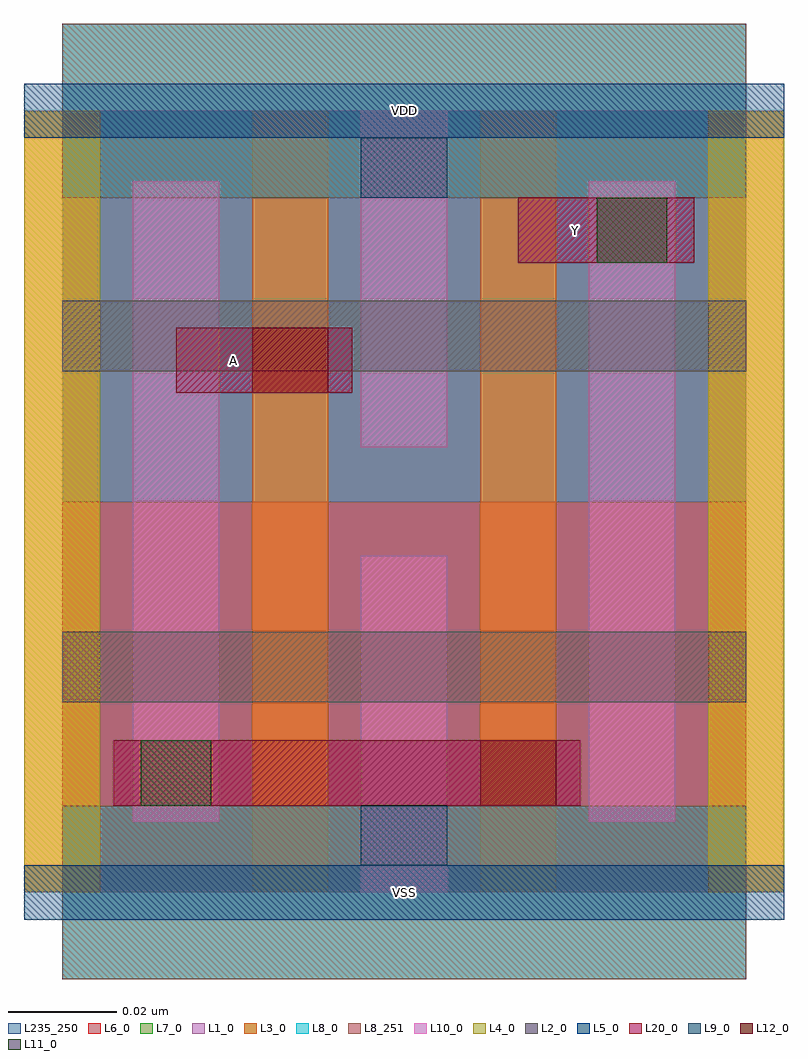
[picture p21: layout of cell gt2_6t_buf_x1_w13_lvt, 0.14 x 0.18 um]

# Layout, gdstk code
import gdstk
lib = gdstk.Library(unit=1e-6, precision=5e-10)
def R(c, l, rs):  # rectangles x0, y0, x1, y1
    for r in rs: c.add(gdstk.rectangle(r[:2], r[2:], *l))
def A(c, l, x, y, w, h, nx, ny, dx, dy):  # array of equal rectangles
    R(c, l, [(x+i*dx, y+j*dy, x+i*dx+w, y+j*dy+h) for i in range(nx) for j in range(ny)])
L1_0 = (1, 0)
L2_0 = (2, 0)
L3_0 = (3, 0)
L4_0 = (4, 0)
L5_0 = (5, 0)
L6_0 = (6, 0)
L7_0 = (7, 0)
L8_0 = (8, 0)
L8_251 = (8, 251)
L9_0 = (9, 0)
L10_0 = (10, 0)
L11_0 = (11, 0)
L12_0 = (12, 0)
L20_0 = (20, 0)
L235_250 = (235, 250)

gt2_6t_buf_x1_w13_lvt = lib.new_cell('gt2_6t_buf_x1_w13_lvt')
R(gt2_6t_buf_x1_w13_lvt, L1_0, [(0,0.072,0.126,0.144)])
R(gt2_6t_buf_x1_w13_lvt, L2_0, [(0,0.035,0.126,0.048), (0,0.096,0.126,0.109)])
A(gt2_6t_buf_x1_w13_lvt, L3_0, -0.007, 0, 0.014, 0.144, 4, 1, 0.042, 0)
R(gt2_6t_buf_x1_w13_lvt, L4_0, [(-0.007,0,0.007,0.144), (0.119,0,0.133,0.144)])
R(gt2_6t_buf_x1_w13_lvt, L5_0, [(-0.007,-0.005,0.133,0.005), (-0.007,0.139,0.133,0.149)])
R(gt2_6t_buf_x1_w13_lvt, L6_0, [(0,0,0.126,0.072)])
R(gt2_6t_buf_x1_w13_lvt, L7_0, [(0,0.072,0.126,0.144)])
R(gt2_6t_buf_x1_w13_lvt, L8_0, [(0,-0.016,0.126,0.016), (0,0.128,0.126,0.16)])
R(gt2_6t_buf_x1_w13_lvt, L8_251, [(0,-0.016,0.126,0.016), (0,0.128,0.126,0.16)])
R(gt2_6t_buf_x1_w13_lvt, L9_0, [(0.055,0.005,0.071,0.016), (0.055,0.128,0.071,0.139)])
R(gt2_6t_buf_x1_w13_lvt, L10_0, [(0.055,0,0.071,0.062), (0.013,0.013,0.029,0.131), (0.097,0.013,0.113,0.131), (0.055,0.082,0.071,0.144)])
R(gt2_6t_buf_x1_w13_lvt, L11_0, [(0.0145,0.016,0.0275,0.028), (0.0985,0.116,0.1115,0.128)])
R(gt2_6t_buf_x1_w13_lvt, L12_0, [(0.077,0.016,0.091,0.028), (0.035,0.092,0.049,0.104)])
R(gt2_6t_buf_x1_w13_lvt, L20_0, [(0.0095,0.016,0.0955,0.028), (0.021,0.092,0.0535,0.104), (0.084,0.116,0.1165,0.128)])
R(gt2_6t_buf_x1_w13_lvt, L235_250, [(0,0,0.126,0.144)])
gt2_6t_buf_x1_w13_lvt.add(gdstk.Label('VSS', (0.063,0), layer=8, texttype=251))
gt2_6t_buf_x1_w13_lvt.add(gdstk.Label('VDD', (0.063,0.144), layer=8, texttype=251))
gt2_6t_buf_x1_w13_lvt.add(gdstk.Label('Y', (0.0945,0.122), layer=20, texttype=251))
gt2_6t_buf_x1_w13_lvt.add(gdstk.Label('A', (0.0315,0.098), layer=20, texttype=251))

lib.write_gds('gt2_6t_buf_x1_w13_lvt.gds')
